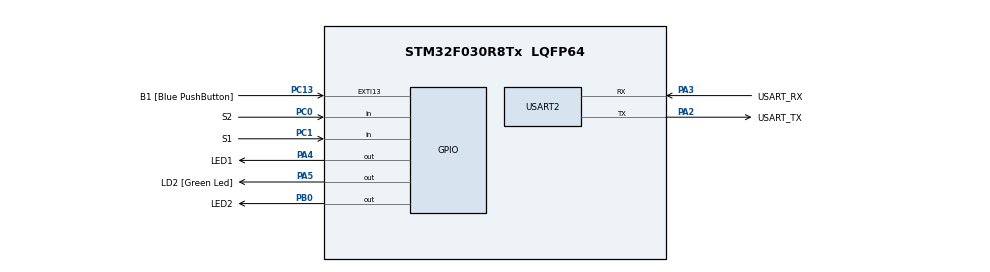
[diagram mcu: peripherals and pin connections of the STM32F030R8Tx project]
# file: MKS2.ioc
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Mcu.Family=STM32F0
Mcu.Name=STM32F030R8Tx
Mcu.Package=LQFP64
PA13.GPIO_Label=TMS
PA13.Mode=Serial_Wire
PA13.Signal=SYS_SWDIO
PA14.GPIO_Label=TCK
PA14.Mode=Serial_Wire
PA14.Signal=SYS_SWCLK
PA2.GPIO_Label=USART_TX
PA2.GPIO_Mode=GPIO_MODE_AF_PP
PA2.GPIO_PuPd=GPIO_NOPULL
PA2.GPIO_Speed=GPIO_SPEED_FREQ_LOW
PA2.Mode=Asynchronous
PA2.Signal=USART2_TX
PA3.GPIO_Label=USART_RX
PA3.GPIO_Mode=GPIO_MODE_AF_PP
PA3.GPIO_PuPd=GPIO_NOPULL
PA3.GPIO_Speed=GPIO_SPEED_FREQ_LOW
PA3.Mode=Asynchronous
PA3.Signal=USART2_RX
PA4.GPIO_Label=LED1
PA4.Signal=GPIO_Output
PA5.GPIO_Label=LD2 [Green Led]
PA5.GPIO_Mode=GPIO_MODE_OUTPUT_PP
PA5.GPIO_PuPd=GPIO_NOPULL
PA5.GPIO_Speed=GPIO_SPEED_FREQ_LOW
PA5.Signal=GPIO_Output
PB0.GPIO_Label=LED2
PB0.Signal=GPIO_Output
PC0.GPIO_Label=S2
PC0.GPIO_PuPd=GPIO_PULLUP
PC0.Signal=GPIO_Input
PC1.GPIO_Label=S1
PC1.GPIO_PuPd=GPIO_PULLUP
PC1.Signal=GPIO_Input
PC13.GPIO_Label=B1 [Blue PushButton]
PC13.GPIO_ModeDefaultEXTI=GPIO_MODE_IT_FALLING
PC13.Signal=GPXTI13
PC14-OSC32_IN.Mode=LSE-External-Oscillator
PC14-OSC32_IN.Signal=RCC_OSC32_IN
PC15-OSC32_OUT.Mode=LSE-External-Oscillator
PC15-OSC32_OUT.Signal=RCC_OSC32_OUT
PF0-OSC_IN.Mode=HSE-External-Clock-Source
PF0-OSC_IN.Signal=RCC_OSC_IN
PF1-OSC_OUT.Signal=RCC_OSC_OUT
ProjectManager.HeapSize=0x200
ProjectManager.StackSize=0x400
ProjectManager.TargetToolchain=STM32CubeIDE
RCC.AHBFreq_Value=48000000
RCC.APB1Freq_Value=48000000
RCC.APB1TimFreq_Value=48000000
RCC.HCLKFreq_Value=48000000
RCC.PLLMUL=RCC_PLL_MUL12
RCC.SYSCLKFreq_VALUE=48000000
RCC.SYSCLKSource=RCC_SYSCLKSOURCE_PLLCLK
USART2.VirtualMode-Asynchronous=VM_ASYNC
board=NUCLEO-F030R8

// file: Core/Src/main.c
/* USER CODE BEGIN Header */
/**
  ******************************************************************************
  * @file           : main.c
  * @brief          : Main program body
  ******************************************************************************
  * @attention
  *
  * Copyright (c) 2025 STMicroelectronics.
  * All rights reserved.
  *
  * This software is licensed under terms that can be found in the LICENSE file
  * in the root directory of this software component.
  * If no LICENSE file comes with this software, it is provided AS-IS.
  *
  ******************************************************************************
  */
/* USER CODE END Header */
#include "main.h"

/* USER CODE BEGIN PD */
#define LED_TIME_BLINK 300
#define LED_TIME_SHORT 100
#define LED_TIME_LONG 1000
#define DEBOUNCE_TIME 40
#define DEBOUNCE_TIME2 5
/* USER CODE END PD */

/* USER CODE BEGIN PV */
volatile uint32_t Tick;
/* USER CODE END PV */

void SystemClock_Config(void);
static void MX_GPIO_Init(void);
static void MX_USART2_UART_Init(void);

/* USER CODE BEGIN 0 */

void button(void) {
	static uint32_t old_s2 = 1;
	static uint32_t last_s2_time = 0;
	static uint32_t off_time = 0;
	static uint16_t debounce = 0xFFFF;
	static uint32_t debounce_time = 0;

	uint32_t new_s2 = LL_GPIO_IsInputPinSet(S2_GPIO_Port, S2_Pin);
	uint32_t new_s1 = LL_GPIO_IsInputPinSet(S1_GPIO_Port, S1_Pin);

	if (old_s2 && !new_s2) { // falling edge
		if ((Tick - last_s2_time) > DEBOUNCE_TIME) {
			last_s2_time = Tick;
			off_time = Tick + LED_TIME_SHORT;
			LL_GPIO_SetOutputPin(LED2_GPIO_Port, LED2_Pin);
		}
	}
	old_s2 = new_s2;

	// Bit-shift debounce for S1
	if (Tick > debounce_time + DEBOUNCE_TIME2) {
		debounce_time = Tick;

		debounce = (debounce << 1) | (new_s1 ? 1 : 0);

		// Check if debounce register is stable (all bits are 0 or 1)
		if (debounce == 0x0000) {
			// Button is considered pressed
			LL_GPIO_SetOutputPin(LED2_GPIO_Port, LED2_Pin);
			off_time = Tick + LED_TIME_LONG;
		}
	}

	if (Tick > off_time) {
		LL_GPIO_ResetOutputPin(LED2_GPIO_Port, LED2_Pin);
	}
}
void blink(void) {
	static uint32_t delay;
	if (Tick > delay + LED_TIME_BLINK) {
		LL_GPIO_TogglePin(LED1_GPIO_Port, LED1_Pin);
		delay = Tick;
	}
}
/* USER CODE END 0 */

int main(void)
{

  /* MCU Configuration--------------------------------------------------------*/

  /* Reset of all peripherals, Initializes the Flash interface and the Systick. */
  LL_APB1_GRP2_EnableClock(LL_APB1_GRP2_PERIPH_SYSCFG);
  LL_APB1_GRP1_EnableClock(LL_APB1_GRP1_PERIPH_PWR);

  /* Configure the system clock */
  SystemClock_Config();

  /* Initialize all configured peripherals */
  MX_GPIO_Init();
  MX_USART2_UART_Init();
  /* USER CODE BEGIN 2 */
  LL_SYSTICK_EnableIT();
  /* USER CODE END 2 */

  /* Infinite loop */
  /* USER CODE BEGIN WHILE */
  while (1)
  {
	  /* LL_GPIO_TogglePin(LED1_GPIO_Port, LED1_Pin);
	  	    LL_mDelay(300);*/
	  blink();
	  button();
    /* USER CODE END WHILE */

  }
}

void SystemClock_Config(void)
{
  LL_FLASH_SetLatency(LL_FLASH_LATENCY_1);
  while(LL_FLASH_GetLatency() != LL_FLASH_LATENCY_1)
  {
  }
  LL_RCC_HSI_Enable();

   /* Wait till HSI is ready */
  while(LL_RCC_HSI_IsReady() != 1)
  {

  }
  LL_RCC_HSI_SetCalibTrimming(16);
  LL_RCC_PLL_ConfigDomain_SYS(LL_RCC_PLLSOURCE_HSI_DIV_2, LL_RCC_PLL_MUL_12);
  LL_RCC_PLL_Enable();

   /* Wait till PLL is ready */
  while(LL_RCC_PLL_IsReady() != 1)
  {

  }
  LL_RCC_SetAHBPrescaler(LL_RCC_SYSCLK_DIV_1);
  LL_RCC_SetAPB1Prescaler(LL_RCC_APB1_DIV_1);
  LL_RCC_SetSysClkSource(LL_RCC_SYS_CLKSOURCE_PLL);

   /* Wait till System clock is ready */
  while(LL_RCC_GetSysClkSource() != LL_RCC_SYS_CLKSOURCE_STATUS_PLL)
  {

  }
  LL_Init1msTick(48000000);
  LL_SetSystemCoreClock(48000000);
}

static void MX_USART2_UART_Init(void)
{

  LL_USART_InitTypeDef USART_InitStruct = {0};

  LL_GPIO_InitTypeDef GPIO_InitStruct = {0};

  /* Peripheral clock enable */
  LL_APB1_GRP1_EnableClock(LL_APB1_GRP1_PERIPH_USART2);

  LL_AHB1_GRP1_EnableClock(LL_AHB1_GRP1_PERIPH_GPIOA);
  /**USART2 GPIO Configuration
  PA2   ------> USART2_TX
  PA3   ------> USART2_RX
  */
  GPIO_InitStruct.Pin = USART_TX_Pin;
  GPIO_InitStruct.Mode = LL_GPIO_MODE_ALTERNATE;
  GPIO_InitStruct.Speed = LL_GPIO_SPEED_FREQ_LOW;
  GPIO_InitStruct.OutputType = LL_GPIO_OUTPUT_PUSHPULL;
  GPIO_InitStruct.Pull = LL_GPIO_PULL_NO;
  GPIO_InitStruct.Alternate = LL_GPIO_AF_1;
  LL_GPIO_Init(USART_TX_GPIO_Port, &GPIO_InitStruct);

  GPIO_InitStruct.Pin = USART_RX_Pin;
  GPIO_InitStruct.Mode = LL_GPIO_MODE_ALTERNATE;
  GPIO_InitStruct.Speed = LL_GPIO_SPEED_FREQ_LOW;
  GPIO_InitStruct.OutputType = LL_GPIO_OUTPUT_PUSHPULL;
  GPIO_InitStruct.Pull = LL_GPIO_PULL_NO;
  GPIO_InitStruct.Alternate = LL_GPIO_AF_1;
  LL_GPIO_Init(USART_RX_GPIO_Port, &GPIO_InitStruct);

  USART_InitStruct.BaudRate = 38400;
  USART_InitStruct.DataWidth = LL_USART_DATAWIDTH_8B;
  USART_InitStruct.StopBits = LL_USART_STOPBITS_1;
  USART_InitStruct.Parity = LL_USART_PARITY_NONE;
  USART_InitStruct.TransferDirection = LL_USART_DIRECTION_TX_RX;
  USART_InitStruct.HardwareFlowControl = LL_USART_HWCONTROL_NONE;
  USART_InitStruct.OverSampling = LL_USART_OVERSAMPLING_16;
  LL_USART_Init(USART2, &USART_InitStruct);
  LL_USART_DisableIT_CTS(USART2);
  LL_USART_ConfigAsyncMode(USART2);
  LL_USART_Enable(USART2);

}

static void MX_GPIO_Init(void)
{
  LL_EXTI_InitTypeDef EXTI_InitStruct = {0};
  LL_GPIO_InitTypeDef GPIO_InitStruct = {0};

  /* GPIO Ports Clock Enable */
  LL_AHB1_GRP1_EnableClock(LL_AHB1_GRP1_PERIPH_GPIOC);
  LL_AHB1_GRP1_EnableClock(LL_AHB1_GRP1_PERIPH_GPIOF);
  LL_AHB1_GRP1_EnableClock(LL_AHB1_GRP1_PERIPH_GPIOA);
  LL_AHB1_GRP1_EnableClock(LL_AHB1_GRP1_PERIPH_GPIOB);

  /**/
  LL_GPIO_ResetOutputPin(LED1_GPIO_Port, LED1_Pin);

  /**/
  LL_GPIO_ResetOutputPin(LD2_GPIO_Port, LD2_Pin);

  /**/
  LL_GPIO_ResetOutputPin(LED2_GPIO_Port, LED2_Pin);

  /**/
  LL_SYSCFG_SetEXTISource(LL_SYSCFG_EXTI_PORTC, LL_SYSCFG_EXTI_LINE13);

  /**/
  LL_GPIO_SetPinPull(B1_GPIO_Port, B1_Pin, LL_GPIO_PULL_NO);

  /**/
  LL_GPIO_SetPinMode(B1_GPIO_Port, B1_Pin, LL_GPIO_MODE_INPUT);

  /**/
  EXTI_InitStruct.Line_0_31 = LL_EXTI_LINE_13;
  EXTI_InitStruct.LineCommand = ENABLE;
  EXTI_InitStruct.Mode = LL_EXTI_MODE_IT;
  EXTI_InitStruct.Trigger = LL_EXTI_TRIGGER_FALLING;
  LL_EXTI_Init(&EXTI_InitStruct);

  /**/
  GPIO_InitStruct.Pin = S2_Pin;
  GPIO_InitStruct.Mode = LL_GPIO_MODE_INPUT;
  GPIO_InitStruct.Pull = LL_GPIO_PULL_UP;
  LL_GPIO_Init(S2_GPIO_Port, &GPIO_InitStruct);

  /**/
  GPIO_InitStruct.Pin = S1_Pin;
  GPIO_InitStruct.Mode = LL_GPIO_MODE_INPUT;
  GPIO_InitStruct.Pull = LL_GPIO_PULL_UP;
  LL_GPIO_Init(S1_GPIO_Port, &GPIO_InitStruct);

  /**/
  GPIO_InitStruct.Pin = LED1_Pin;
  GPIO_InitStruct.Mode = LL_GPIO_MODE_OUTPUT;
  GPIO_InitStruct.Speed = LL_GPIO_SPEED_FREQ_LOW;
  GPIO_InitStruct.OutputType = LL_GPIO_OUTPUT_PUSHPULL;
  GPIO_InitStruct.Pull = LL_GPIO_PULL_NO;
  LL_GPIO_Init(LED1_GPIO_Port, &GPIO_InitStruct);

  /**/
  GPIO_InitStruct.Pin = LD2_Pin;
  GPIO_InitStruct.Mode = LL_GPIO_MODE_OUTPUT;
  GPIO_InitStruct.Speed = LL_GPIO_SPEED_FREQ_LOW;
  GPIO_InitStruct.OutputType = LL_GPIO_OUTPUT_PUSHPULL;
  GPIO_InitStruct.Pull = LL_GPIO_PULL_NO;
  LL_GPIO_Init(LD2_GPIO_Port, &GPIO_InitStruct);

  /**/
  GPIO_InitStruct.Pin = LED2_Pin;
  GPIO_InitStruct.Mode = LL_GPIO_MODE_OUTPUT;
  GPIO_InitStruct.Speed = LL_GPIO_SPEED_FREQ_LOW;
  GPIO_InitStruct.OutputType = LL_GPIO_OUTPUT_PUSHPULL;
  GPIO_InitStruct.Pull = LL_GPIO_PULL_NO;
  LL_GPIO_Init(LED2_GPIO_Port, &GPIO_InitStruct);

}

void Error_Handler(void)
{
  __disable_irq();
  while (1)
  {
  }
}
